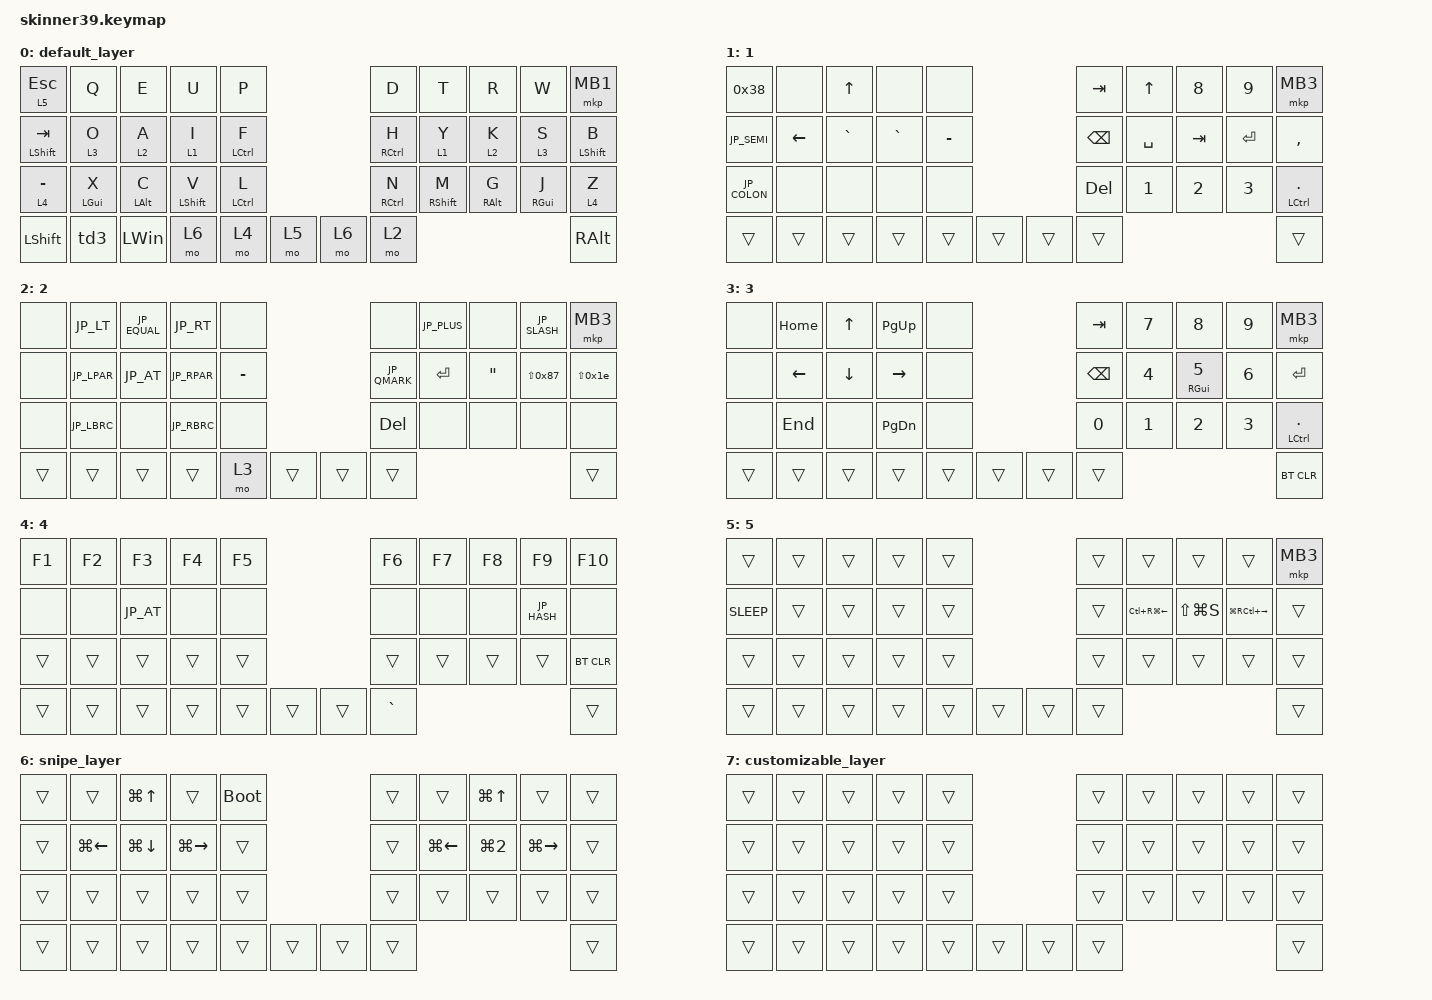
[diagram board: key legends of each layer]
#include <behaviors.dtsi>
#include <dt-bindings/zmk/bt.h>
#include <dt-bindings/zmk/keys.h>
#include <dt-bindings/zmk/pointing.h>
#include "keycode_japanese.h"


&mt { 
    flavor = "balanced"; 
    tapping-term-ms = <200>;
    quick-tap-ms = <150>; 
};

&lt {
    flavor = "balanced";
    tapping-term-ms = <200>; 
    quick-tap-ms = <150>; 
};


/ { 
    behaviors {
        td3: td3 {
            compatible = "zmk,behavior-tap-dance";
            #binding-cells = <0>;
            tapping-term-ms = <200>;
            bindings = <&kp A>, <&kp B>;
            
        };
    };
};



/ {
      combos {
        compatible = "zmk,combos";

        combo_esc {
            timeout-ms = <50>;
            key-positions = <0 1>;
            bindings = <&kp A>;
        };

        mouseclick {
            bindings = <&mkp MB1>;
            key-positions = <12 13>;
            timeout-ms = <50>;
        };

        r_ctrl {
            bindings = <&sk RCTRL>;
            key-positions = <18 19>;
            timeout-ms = <50>;
        };

        l_ctrl {
            bindings = <&sk LCTRL>;
            key-positions = <10 11>;
            timeout-ms = <50>;
        };

        fopen {
            bindings = <&kp LG(N2)>;
            key-positions = <8 9>;
            timeout-ms = <50>;
        };

        scroll {
            bindings = <&mo 5>;
            key-positions = <11 12>;
            timeout-ms = <50>;
        };

        wintab {
            bindings = <&kp LG(TAB)>;
            key-positions = <23 24>;
            timeout-ms = <50>;
        };

        };
    };





/ {

    keymap {
        compatible = "zmk,keymap";
        default_layer {
            bindings = <
  &lt 5 ESCAPE        &kp Q         &kp E         &kp U         &kp P                              &kp D  &kp T  &kp R  &kp W  &mkp MB1
  &mt LSHIFT TAB      &lt 3 O        &lt 2 A      &lt 1 I         &mt LCTRL F                       &mt RCTRL H  &lt 1 Y         &lt 2 K       &lt 3 S       &mt LEFT_SHIFT B
  &lt 4 MINUS    &mt LGUI X   &mt LALT C &mt LSHIFT V  &mt LCTRL L                                   &mt RCTRL N        &mt RSHIFT M  &mt RALT G  &mt RGUI J  &lt 4 Z
  &kp LEFT_SHIFT &td3 &kp LEFT_WIN  &mo 6 &mo 4  &mo 5                            &mo 6  &mo 2                       &kp RIGHT_ALT
            >;
        };

        1 {
            bindings = <
&kp 0x38     &none      &kp UP     &none       &none                                 &kp TAB          &kp UP          &kp N8        &kp N9         &mkp MB3
   &kp JP_SEMI  &kp LEFT   &kp GRAVE  &kp GRAVE   &kp MINUS                             &kp BACKSPACE  &kp SPACE       &kp TAB       &kp ENTER      &kp COMMA 
   &kp JP_COLON &none      &none      &none       &none                                 &kp DELETE     &kp N1          &kp N2        &kp N3         &mt LCTRL PERIOD
  &trans          &trans          &trans        &trans           &trans        &trans  &trans  &trans                                                  &trans
            >;
        };

        2 {
            bindings = <
 &none        &kp JP_LT      &kp JP_EQUAL   &kp JP_RT  &none                                        &none          &kp JP_PLUS     &none        &kp JP_SLASH  &mkp MB3
&none        &kp JP_LPAR    &kp JP_AT      &kp JP_RPAR   &kp MINUS                                 &kp JP_QMARK   &kp ENTER  &kp DOUBLE_QUOTES &kp LS(0x87)  &kp LS(0x1e)
&none        &kp JP_LBRC    &none          &kp JP_RBRC   &none                                     &kp DELETE          &none           &none         &none         &none
  &trans         &trans                    &trans     &trans         &mo 3        &trans  &trans  &trans                                                              &trans
            >;
        };

        3 {
            bindings = <
 &none        &kp HOME   &kp UP     &kp PAGE_UP      &none                                 &kp TAB          &kp N7          &kp N8        &kp N9         &mkp MB3
&none        &kp LEFT   &kp DOWN   &kp RIGHT        &none                                 &kp BACKSPACE  &kp N4          &mt RGUI N5        &kp N6         &kp ENTER
&none        &kp END    &none      &kp PAGE_DOWN    &none                                 &kp N0         &kp N1          &kp N2        &kp N3         &mt LCTRL PERIOD
  &trans   &trans   &trans   &trans   &trans            &trans  &trans  &trans                                     &bt BT_CLR
            >;
        };

        4 {
            bindings = <
 &kp F1  &kp F2  &kp F3  &kp F4  &kp F5                  &kp F6  &kp F7  &kp F8  &kp F9  &kp F10
&none   &none   &kp JP_AT   &none   &none                   &none   &none   &none   &kp JP_HASH   &none
&trans  &trans  &trans  &trans  &trans                                     &trans        &trans        &trans        &trans        &bt BT_CLR
  &trans          &trans            &trans                &trans     &trans     &trans  &trans  &kp GRAVE                                                           &trans
            >;
        };

        5 {
            bindings = <
  &trans  &trans  &trans  &trans  &trans                  &trans  &trans  &trans  &trans  &mkp MB3
  &kp C_SLEEP  &trans  &trans  &trans  &trans                  &trans  &kp LC(RG(LEFT))   &kp LS(LG(S))    &kp LG(RC(RIGHT))  &trans
  &trans  &trans  &trans  &trans  &trans                  &trans  &trans  &trans  &trans  &trans
  &trans  &trans  &trans  &trans  &trans  &trans  &trans  &trans                          &trans
            >;
        };

        snipe_layer {
            bindings = <
  &trans  &trans  &kp LG(UP)  &trans  &bootloader                  &trans  &trans  &kp LG(UP)  &trans  &trans
  &trans  &kp LG(LEFT)  &kp LG(DOWN)  &kp LG(RIGHT)  &trans                       &trans  &kp LG(LEFT)  &kp LG(N2)  &kp LG(RIGHT)  &trans
  &trans  &trans  &trans  &trans  &trans                       &trans  &trans  &trans  &trans  &trans
  &trans  &trans  &trans  &trans  &trans       &trans  &trans  &trans                          &trans
            >;
        };

        customizable_layer {
            bindings = <
  &trans  &trans  &trans  &trans  &trans                  &trans  &trans  &trans  &trans  &trans
  &trans  &trans  &trans  &trans  &trans                  &trans  &trans  &trans  &trans  &trans
  &trans  &trans  &trans  &trans  &trans                  &trans  &trans  &trans  &trans  &trans
  &trans  &trans  &trans  &trans  &trans  &trans  &trans  &trans                          &trans
            >;
        };
    };
};




